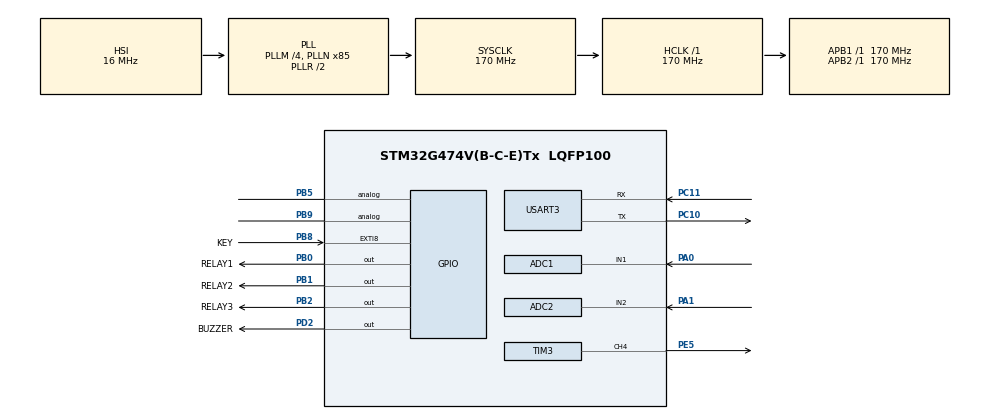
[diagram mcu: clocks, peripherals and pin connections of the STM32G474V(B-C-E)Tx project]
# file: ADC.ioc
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ADC1.Channel-0\#ChannelRegularConversion=ADC_CHANNEL_1
ADC1.DMAContinuousRequests=ENABLE
ADC1.ExternalTrigConv=ADC_EXTERNALTRIG_T3_CC4
ADC1.NbrOfConversion=1
ADC1.NbrOfConversionFlag=1
ADC1.OffsetNumber-0\#ChannelRegularConversion=ADC_OFFSET_NONE
ADC1.OversamplingMode=DISABLE
ADC1.Rank-0\#ChannelRegularConversion=1
ADC1.SamplingTime-0\#ChannelRegularConversion=ADC_SAMPLETIME_12CYCLES_5
ADC1.master=1
ADC2.Channel-0\#ChannelRegularConversion=ADC_CHANNEL_2
ADC2.DMAContinuousRequests=ENABLE
ADC2.ExternalTrigConv=ADC_EXTERNALTRIG_T3_CC4
ADC2.ExternalTrigConvEdge=ADC_EXTERNALTRIGCONVEDGE_FALLING
ADC2.NbrOfConversionFlag=1
ADC2.OffsetNumber-0\#ChannelRegularConversion=ADC_OFFSET_NONE
ADC2.Rank-0\#ChannelRegularConversion=1
ADC2.SamplingTime-0\#ChannelRegularConversion=ADC_SAMPLETIME_12CYCLES_5
Dma.ADC1.0.Direction=DMA_PERIPH_TO_MEMORY
Dma.ADC1.0.EventEnable=DISABLE
Dma.ADC1.0.Instance=DMA1_Channel1
Dma.ADC1.0.MemDataAlignment=DMA_MDATAALIGN_HALFWORD
Dma.ADC1.0.MemInc=DMA_MINC_ENABLE
Dma.ADC1.0.Mode=DMA_CIRCULAR
Dma.ADC1.0.PeriphDataAlignment=DMA_PDATAALIGN_HALFWORD
Dma.ADC1.0.PeriphInc=DMA_PINC_DISABLE
Dma.ADC1.0.Polarity=HAL_DMAMUX_REQ_GEN_RISING
Dma.ADC1.0.Priority=DMA_PRIORITY_LOW
Dma.ADC1.0.RequestNumber=1
Dma.ADC1.0.SignalID=NONE
Dma.ADC1.0.SyncEnable=DISABLE
Dma.ADC1.0.SyncPolarity=HAL_DMAMUX_SYNC_NO_EVENT
Dma.ADC1.0.SyncRequestNumber=1
Dma.ADC1.0.SyncSignalID=NONE
Dma.ADC2.1.Direction=DMA_PERIPH_TO_MEMORY
Dma.ADC2.1.EventEnable=DISABLE
Dma.ADC2.1.Instance=DMA1_Channel2
Dma.ADC2.1.MemDataAlignment=DMA_MDATAALIGN_HALFWORD
Dma.ADC2.1.MemInc=DMA_MINC_ENABLE
Dma.ADC2.1.Mode=DMA_CIRCULAR
Dma.ADC2.1.PeriphDataAlignment=DMA_PDATAALIGN_HALFWORD
Dma.ADC2.1.PeriphInc=DMA_PINC_DISABLE
Dma.ADC2.1.Polarity=HAL_DMAMUX_REQ_GEN_RISING
Dma.ADC2.1.Priority=DMA_PRIORITY_LOW
Dma.ADC2.1.RequestNumber=1
Dma.ADC2.1.SignalID=NONE
Dma.ADC2.1.SyncEnable=DISABLE
Dma.ADC2.1.SyncPolarity=HAL_DMAMUX_SYNC_NO_EVENT
Dma.ADC2.1.SyncRequestNumber=1
Dma.ADC2.1.SyncSignalID=NONE
Dma.Request0=ADC1
Dma.Request1=ADC2
Mcu.Family=STM32G4
Mcu.Name=STM32G474V(B-C-E)Tx
Mcu.Package=LQFP100
NVIC.ADC1_2_IRQn=true\:0\:0\:false\:false\:true\:true\:true\:true
NVIC.DMA1_Channel1_IRQn=true\:0\:0\:false\:false\:true\:true\:true\:true
NVIC.DMA1_Channel2_IRQn=true\:0\:0\:false\:false\:true\:true\:true\:true
NVIC.EXTI9_5_IRQn=true\:0\:0\:false\:false\:true\:true\:true\:true
NVIC.PriorityGroup=NVIC_PRIORITYGROUP_4
NVIC.TIM3_IRQn=true\:0\:0\:false\:false\:true\:true\:true\:true
NVIC.USART3_IRQn=true\:0\:0\:false\:false\:true\:true\:true\:true
PA0.Mode=IN1-Single-Ended
PA0.Signal=ADC1_IN1
PA1.Mode=IN2-Single-Ended
PA1.Signal=ADC2_IN2
PA13.Mode=Serial_Wire
PA13.Signal=SYS_JTMS-SWDIO
PA14.Mode=Serial_Wire
PA14.Signal=SYS_JTCK-SWCLK
PB0.GPIO_Label=RELAY1
PB0.GPIO_ModeDefaultOutputPP=GPIO_MODE_OUTPUT_OD
PB0.GPIO_PuPd=GPIO_NOPULL
PB0.GPIO_Speed=GPIO_SPEED_FREQ_HIGH
PB0.PinState=GPIO_PIN_SET
PB0.Signal=GPIO_Output
PB1.GPIO_Label=RELAY2
PB1.GPIO_ModeDefaultOutputPP=GPIO_MODE_OUTPUT_OD
PB1.GPIO_PuPd=GPIO_NOPULL
PB1.GPIO_Speed=GPIO_SPEED_FREQ_HIGH
PB1.PinState=GPIO_PIN_SET
PB1.Signal=GPIO_Output
PB2.GPIO_Label=RELAY3
PB2.GPIO_ModeDefaultOutputPP=GPIO_MODE_OUTPUT_OD
PB2.GPIO_PuPd=GPIO_NOPULL
PB2.GPIO_Speed=GPIO_SPEED_FREQ_HIGH
PB2.PinState=GPIO_PIN_SET
PB2.Signal=GPIO_Output
PB5.Signal=GPIO_Analog
PB8-BOOT0.GPIO_Label=KEY
PB8-BOOT0.GPIO_PuPd=GPIO_PULLDOWN
PB8-BOOT0.Signal=GPXTI8
PB9.Signal=GPIO_Analog
PC10.Mode=Asynchronous
PC10.Signal=USART3_TX
PC11.Mode=Asynchronous
PC11.Signal=USART3_RX
PD2.GPIO_Label=BUZZER
PD2.GPIO_Speed=GPIO_SPEED_FREQ_HIGH
PD2.Signal=GPIO_Output
PE5.Signal=S_TIM3_CH4
PF0-OSC_IN.Mode=HSE-External-Oscillator
PF0-OSC_IN.Signal=RCC_OSC_IN
PF1-OSC_OUT.Mode=HSE-External-Oscillator
PF1-OSC_OUT.Signal=RCC_OSC_OUT
ProjectManager.HeapSize=0x200
ProjectManager.StackSize=0x400
ProjectManager.TargetToolchain=MDK-ARM V5.27
RCC.ADC12Freq_Value=170000000
RCC.ADC345Freq_Value=170000000
RCC.AHBFreq_Value=170000000
RCC.APB1Freq_Value=170000000
RCC.APB1TimFreq_Value=170000000
RCC.APB2Freq_Value=170000000
RCC.APB2TimFreq_Value=170000000
RCC.CortexFreq_Value=170000000
RCC.EXTERNAL_CLOCK_VALUE=12288000
RCC.FLatency=FLASH_LATENCY_4
RCC.HCLKFreq_Value=170000000
RCC.HSE_VALUE=8000000
RCC.HSI48_VALUE=48000000
RCC.HSI_VALUE=16000000
RCC.LSE_VALUE=32768
RCC.PLLM=RCC_PLLM_DIV4
RCC.PLLN=85
RCC.PWR_Regulator_Voltage_Scale=PWR_REGULATOR_VOLTAGE_SCALE1_BOOST
RCC.SYSCLKFreq_VALUE=170000000
RCC.SYSCLKSource=RCC_SYSCLKSOURCE_PLLCLK
RCC.USBFreq_Value=170000000
RCC.VCOOutputFreq_Value=340000000
SH.S_TIM3_CH4.0=TIM3_CH4,PWM Generation4 CH4
TIM3.AutoReloadPreload=TIM_AUTORELOAD_PRELOAD_ENABLE
TIM3.Channel-PWM\ Generation4\ CH4=TIM_CHANNEL_4
TIM3.CounterMode=TIM_COUNTERMODE_CENTERALIGNED1
TIM3.PeriodNoDither=1
TIM3.Prescaler=82
TIM3.PulseNoDither_4=0
TIM3.TIM_MasterOutputTrigger=TIM_TRGO_OC4REF
USART3.VirtualMode-Asynchronous=VM_ASYNC
VP_SYS_VS_DBSignals.Mode=DisableDeadBatterySignals
VP_TIM3_VS_ClockSourceINT.Mode=Internal
board=custom

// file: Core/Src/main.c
/* USER CODE BEGIN Header */
/**
  ******************************************************************************
  * @file           : main.c
  * @brief          : Main program body
  ******************************************************************************
  * @attention
  *
  * Copyright (c) 2026 STMicroelectronics.
  * All rights reserved.
  *
  * This software is licensed under terms that can be found in the LICENSE file
  * in the root directory of this software component.
  * If no LICENSE file comes with this software, it is provided AS-IS.
  *
  ******************************************************************************
  */
/* USER CODE END Header */
#include "main.h"
#include "adc.h"
#include "dma.h"
#include "tim.h"
#include "usart.h"
#include "gpio.h"

/* USER CODE BEGIN Includes */
#include "AD9833.h"
#include "arm_math.h"
#include "arm_const_structs.h"
#include "stdio.h"
#include "goertzel_sync.h"
#include "math.h"
#include "analyzer_bridge.h"
#include "display.h"
#include "goertzel_sync.h"
/* USER CODE END Includes */

/* USER CODE BEGIN PD */

#define ADC_SIZE 4096
/* float ר�� */
#define SWAP_F(a, b)  do { float _t = (a); (a) = (b); (b) = _t; } while (0)
uint16_t adc_b[ADC_SIZE/2]={0},adc_b1[ADC_SIZE/2]={0};
__IO uint8_t AdcConvEnd = 0;
#define ANALYZER_SAMPLE_RATE_HZ  2048193.0f
#define BOARD_KEY_CONTROL_ENABLE 1U
#define BOARD_KEY_DEBOUNCE_MS    30U
#define BOARD_KEY_LONG_PRESS_MS  1000U

#define PI 3.14159265358979323846f
/* USER CODE END PD */

/* USER CODE BEGIN PV */
float32_t input[ADC_SIZE*2+4],output[ADC_SIZE/2],VO[ADC_SIZE],V0=0;
float32_t max;uint32_t index;
float F,V,FB,VB,VC,FC,TE,Vr=0;
uint32_t valid_len;
uint32_t discard_len;
uint16_t flag=0;

extern const short bw9_lut[];  /* 你的LUT，自己声明 */

static float g_f1, g_a1, g_phi1;
static float g_f2, g_a2, g_ph2;
static float g_f3, g_a3, g_ph3;
static int   g_n;  /* 分量数 1~3 */

#if defined(__ARMCC_VERSION)
__attribute__((used)) int __ARM_use_no_argv;
#endif

#if BOARD_KEY_CONTROL_ENABLE
static volatile uint32_t s_key_press_tick;
static volatile uint8_t s_key_press_active;
#endif
/* USER CODE END PV */

void SystemClock_Config(void);

/* USER CODE BEGIN 0 */
#if BOARD_KEY_CONTROL_ENABLE
void HAL_GPIO_EXTI_Callback(uint16_t pin)
{
    if ((pin == KEY_Pin) &&
        (s_key_press_active == 0U) &&
        (HAL_GPIO_ReadPin(KEY_GPIO_Port, KEY_Pin) == GPIO_PIN_SET))
    {
        s_key_press_tick = HAL_GetTick();
        s_key_press_active = 1U;
    }
}

static void BoardKey_Task(void)
{
    uint32_t held_ms;

    if ((s_key_press_active == 0U) ||
        (HAL_GPIO_ReadPin(KEY_GPIO_Port, KEY_Pin) == GPIO_PIN_SET))
    {
        return;
    }

    held_ms = HAL_GetTick() - s_key_press_tick;
    s_key_press_active = 0U;

    if (held_ms < BOARD_KEY_DEBOUNCE_MS)
    {
        return;
    }

    if (held_ms >= BOARD_KEY_LONG_PRESS_MS)
    {
        Display_RequestRefresh();
    }
    else
    {
        Display_TogglePeriods();
    }
}
#endif

static float bw9_phase(float f)
{
      return 0;
}

static void set_base(float f1, float a1, float ph_meas1)
{
    g_f1 = f1;  g_a1 = a1;  g_phi1 = ph_meas1;
    g_f2 = g_a2 = g_ph2 = 0;
    g_f3 = g_a3 = g_ph3 = 0;
    g_n = 1;
}

static float add_harmonic(float fk, float ak, float ph_meas)
{
    float Phik = ph_meas  - bw9_phase(fk);
    float Phi1 = g_phi1   - bw9_phase(g_f1);
    int   mk   = (int)(fk / g_f1 + 0.5f);
    float phi  = Phik - mk * Phi1 - (mk - 1) * (PI / 2);
    phi = atan2f(sinf(phi), cosf(phi));  /* norm */

    g_n++;
    if (g_n == 2) { g_f2 = fk; g_a2 = ak; g_ph2 = phi; }
    if (g_n == 3) { g_f3 = fk; g_a3 = ak; g_ph3 = phi; }
    return phi;
}

static float get_upp(void)
{
    float dt = 1.0f / ANALYZER_SAMPLE_RATE_HZ;
    int   n  = (int)(3.0f / g_f1 / dt);
    if (n > 2048) n = 2048;
    float mx = -1e9, mn = 1e9;
    for (int i = 0; i < n; i++) {
        float t  = i * dt;
        float v  = g_a1 * sinf(2*PI*g_f1*t);
        if (g_n >= 2) v += g_a2 * sinf(2*PI*g_f2*t + g_ph2);
        if (g_n >= 3) v += g_a3 * sinf(2*PI*g_f3*t + g_ph3);
        if (v > mx) mx = v;
        if (v < mn) mn = v;
    }
    return mx - mn;
}

float getup(float f1, float v1,float f2,float v2,float p2,float f3,float v3,float p3) {
    float mx=0,mi=0,a=0;
		//if(flag==2) v3=0;
    for (int i = 0; i < 4096; i++) {
       if(flag==2)
				 a=v1*arm_sin_f32(2*PI*i/1000.0)+v2*arm_sin_f32(2*PI*i/1000.0+p2);
			 else
				 a=v1*arm_sin_f32(2*PI*f1*i/4096.0)+v2*arm_sin_f32(2*PI*f2*i/4096.0+p2)+v3*arm_sin_f32(2*PI*f3*i/4096.0+p3);

			if(a > mx)
				mx=a;
			if(a<mi)
				mi=a;

    }
    return mx - mi;
}

void sof()
{
	if(F>FB)
	{
		SWAP_F(F,FB);
		SWAP_F(V,VB);
	}
	if(FB>FC)
	{
		SWAP_F(FB,FC);
		SWAP_F(VB,VC);
	}
	if(F>FB)
	{
		SWAP_F(F,FB);
		SWAP_F(V,VB);
	}
}

void fft()
{

	arm_cfft_f32(&arm_cfft_sR_f32_len4096,input,0,1);
	 arm_cmplx_mag_f32(input, output, ADC_SIZE / 2 );
	for(int i=0;i<1024;i++)
	{
			if(i<300)
				output[i]/=5.92;
			else if(i<420)
				output[i]/=6.1;
			else if(i<520)
				output[i]/=6.19;
			else if(i<560)
				output[i]/=6.25;
			else if(i<600)
				output[i]/=6.32;
			else if(i<680)
				output[i]/=6.43;
			else if(i<720)
				output[i]/=6.62;
			else if(i<800)
				output[i]/=6.71;
			else if(i<840)
				output[i]/=6.83;
			else if(i<880)
				output[i]/=6.92;
			else
				output[i]/=7.16;
	}
	//arm_cmplx_mag_squared_f32(input,output,ADC_SIZE/2);
	index=0;
	max=output[1];
	arm_max_f32(&output[1],1023,&max,&index);
	float sum=0,summ=0;

	F=(index+1)*2048000.0/4096.0;
		//V=2.0*max/4096.0;
	for(int i=-4;i<5;i++)
		{
			sum+=output[index+i+1]*output[index+i+1];output[index+i+1]=0;
		}
	V=2.0*sqrtf(sum)/4096.0;
	summ+=sum;

	arm_max_f32(&output[1],1023,&max,&index);
	sum=0;
	FB=(index+1)*2048000.0/4096.0;
	for(int i=-4;i<5;i++)
		{
			sum+=output[index+i+1]*output[index+i+1];output[index+i+1]=0;
		}
	//FB=(index+1)*2048000.0/4096.0;
	//VB=2.0*max/2048.0;
	VB=2.0*sqrtf(sum)/4096.0;
	summ+=sum;

	arm_max_f32(&output[1],1023,&max,&index);
	sum=0;
	FC=(index+1)*2048000.0/4096.0;
	for(int i=-4;i<5;i++)
		{
			sum+=output[index+i+1]*output[index+i+1];output[index+i+1]=0;
		}
	//FC=(index+1)*2048000.0/4096.0;
	//VC=2.0*max/2048.0;
	VC=2.0*sqrtf(sum)/4096.0;

	if(VC<0.00477 || (FC<FB && FC<F))
	{
		flag=2;FC=1024000;
	}
	else
	{
		float min_ab = (F < FB) ? F : FB;
		if((uint32_t)FC % (uint32_t)min_ab == 0)
		{
			flag=3;summ+=sum;
		}
		//if((uint32_t)FB % (uint32_t)F!=0 || (uint32_t)FC % (uint32_t)F!=0)
		else
		{
			flag=2;
			FC=1024000;
		}
	}
	sof();
	Vr=	sqrtf(2.0*summ)/4096.0;
	V0=output[0]/4096.0;
}

void HAL_ADC_ConvCpltCallback(ADC_HandleTypeDef* hadc)
{
	if(hadc == &hadc1)
	{
		AdcConvEnd+=1;
HAL_ADC_Stop_DMA(&hadc1);
	}
	if(hadc == &hadc2)
	{
		AdcConvEnd+=1;
HAL_ADC_Stop_DMA(&hadc2);
	}
}

/* ³�����ֵ: �ðٷ�λ�������� */
float Vpp_Robust(const float *data, uint32_t len)
{
    static float sorted[4096];
    uint32_t i, j;
    float key;

    /* 1. ���� */
    for (i = 0; i < len; i++) sorted[i] = data[i];

    /* 2. ��������(2048���Cortex-M4����)
       Ҳ���� arm_sort_f32 (CMSIS-DSP 1.10+) */
    for (i = 1; i < len; i++) {
        key = sorted[i];
        j = i;
        while (j > 0 && sorted[j-1] > key) {
            sorted[j] = sorted[j-1];
            j--;
        }
        sorted[j] = key;
    }

    /* 3. ȡ 1% �� 99% ��λ��, ���˼������� */
		float idx_low=0 ;           /* 1% λ�� */
    float idx_high=0; /* 99% λ�� */
		for (i = 240; i < 260; i++) {
			idx_low+=sorted[i];
			idx_high+=sorted[4095-i];
		}
		idx_low/=20.0;
		idx_high/=20.0;
    return idx_high- idx_low;
}

float Vpp_R()
{
			float fm=F;
			uint32_t cycles = (uint32_t)floor(4096.0 * fm / 2048000.0);
			double exact_len = cycles *  2048000.0 / fm;
			valid_len = (uint32_t)round(exact_len);
			discard_len = 4096 - valid_len;
			for(int i=0;i<discard_len;i++)
				VO[4095-i]=0;
			for(int i=0;i<4096;i++)
				VO[i]=(VO[i]-V0);
			for (int i=0; i < 4096; i++)
			{
				input[i*2]=VO[i];input[i*2+1]=0;
			}
			fft();
			//arm_mean_f32(VO,valid_len,&V0);
			float Vrms=0;
			arm_rms_f32(VO, valid_len, &Vrms);
			return Vrms;
}
/* USER CODE END 0 */

int main(void)
{

  /* MCU Configuration--------------------------------------------------------*/

  /* Reset of all peripherals, Initializes the Flash interface and the Systick. */
  HAL_Init();

  /* Configure the system clock */
  SystemClock_Config();

  /* Initialize all configured peripherals */
  MX_GPIO_Init();
  MX_DMA_Init();
  MX_USART3_UART_Init();
  MX_TIM3_Init();
  MX_ADC1_Init();
  MX_ADC2_Init();
  /* USER CODE BEGIN 2 */
HAL_ADCEx_Calibration_Start(&hadc1, ADC_SINGLE_ENDED);
HAL_ADCEx_Calibration_Start(&hadc2, ADC_SINGLE_ENDED);
HAL_ADC_Start_DMA(&hadc1,(uint32_t*)adc_b,2048);
HAL_ADC_Start_DMA(&hadc2,(uint32_t*)adc_b1,2048);
__DSB();
//HAL_TIM_Base_Start(&htim3);
HAL_TIM_PWM_Start(&htim3, TIM_CHANNEL_4);
//HAL_TIM_Base_Start(&htim3);
AnalyzerBridge_Init();
Display_Init(&huart3);
  /* USER CODE END 2 */

  /* Infinite loop */
  while (1)
  {

    /* USER CODE BEGIN 3 */
		if(AdcConvEnd == 2)
		{
			HAL_TIM_PWM_Stop(&htim3, TIM_CHANNEL_4);
			//HAL_ADC_Stop_DMA(&hadc1);
			//HAL_ADC_Stop_DMA(&hadc2);
			for (int i=0; i < 2048; i++)
			{
				VO[2 * i]     = adc_b[i]*3.3/4096.0;   // 奇数位置: ADC1 (先采样)
				VO[2 * i + 1] = adc_b1[i]*3.3/4096.0;  // 偶数位置: ADC2 (后采样)
			}
			for(int i=0;i<4096;i++)
			{
					input[i*2]=VO[i];input[i*2+1]=0;
			}
			float spectrum_frequencies_hz[ANALYZER_MAX_COMPONENTS];
			float spectrum_amplitudes_v[ANALYZER_MAX_COMPONENTS];
			uint8_t spectrum_flag;

			fft();

			spectrum_frequencies_hz[0] = F;
			spectrum_frequencies_hz[1] = FB;
			spectrum_frequencies_hz[2] = FC;
			spectrum_amplitudes_v[0] = V;
			spectrum_amplitudes_v[1] = VB;
			spectrum_amplitudes_v[2] = VC;
			spectrum_flag = (uint8_t)flag;
			//float vmax,vmin;
			//uint32_t maxid,minid;
			//arm_max_f32(VO, 2048, &vmax, &maxid);   /* �����ֵ */
			//arm_min_f32(VO, 2048, &vmin, &minid);   /* ����Сֵ */

			float vpp =Vpp_Robust(VO,4096)  ;            /* ���ֵ */

			GoertzelResult r=goertzel_sync(VO,4096,2048193,F),rB=goertzel_sync(VO,4096,2048193,FB),rC=goertzel_sync(VO,4096,2048193,FC);

			set_base(F, V, r.phase);
			float phi2 = add_harmonic(FB, VB, rB.phase);
			float phi3;
			if(flag==3)
			{phi3 = add_harmonic(FC, VC, rC.phase);}

			AnalyzerBridge_PrepareReal(
        VO,
        ADC_SIZE,
        ANALYZER_SAMPLE_RATE_HZ,
        spectrum_flag,
        spectrum_frequencies_hz,
        spectrum_amplitudes_v
);

			float Vrms=Vpp_R();
			vpp=getup(F,V,FB,VB,phi2,FC,VC,phi3);
			AnalyzerBridge_PublishPreparedReal(vpp, Vr);

			AdcConvEnd=0;
			HAL_ADC_Start_DMA(&hadc1,(uint32_t*)adc_b,2048);
			HAL_ADC_Start_DMA(&hadc2,(uint32_t*)adc_b1,2048);
			__DSB();
			HAL_TIM_PWM_Start(&htim3, TIM_CHANNEL_4);
			//AdcConvEnd=0;
		}
		#if BOARD_KEY_CONTROL_ENABLE
		BoardKey_Task();
		#endif
		Display_Task();
  }
  /* USER CODE END 3 */
}

void SystemClock_Config(void)
{
  RCC_OscInitTypeDef RCC_OscInitStruct = {0};
  RCC_ClkInitTypeDef RCC_ClkInitStruct = {0};

  /** Configure the main internal regulator output voltage
  */
  HAL_PWREx_ControlVoltageScaling(PWR_REGULATOR_VOLTAGE_SCALE1_BOOST);

  /** Initializes the RCC Oscillators according to the specified parameters
  * in the RCC_OscInitTypeDef structure.
  */
  RCC_OscInitStruct.OscillatorType = RCC_OSCILLATORTYPE_HSI;
  RCC_OscInitStruct.HSIState = RCC_HSI_ON;
  RCC_OscInitStruct.HSICalibrationValue = RCC_HSICALIBRATION_DEFAULT;
  RCC_OscInitStruct.PLL.PLLState = RCC_PLL_ON;
  RCC_OscInitStruct.PLL.PLLSource = RCC_PLLSOURCE_HSI;
  RCC_OscInitStruct.PLL.PLLM = RCC_PLLM_DIV4;
  RCC_OscInitStruct.PLL.PLLN = 85;
  RCC_OscInitStruct.PLL.PLLP = RCC_PLLP_DIV2;
  RCC_OscInitStruct.PLL.PLLQ = RCC_PLLQ_DIV2;
  RCC_OscInitStruct.PLL.PLLR = RCC_PLLR_DIV2;
  if (HAL_RCC_OscConfig(&RCC_OscInitStruct) != HAL_OK)
  {
    Error_Handler();
  }

  /** Initializes the CPU, AHB and APB buses clocks
  */
  RCC_ClkInitStruct.ClockType = RCC_CLOCKTYPE_HCLK|RCC_CLOCKTYPE_SYSCLK
                              |RCC_CLOCKTYPE_PCLK1|RCC_CLOCKTYPE_PCLK2;
  RCC_ClkInitStruct.SYSCLKSource = RCC_SYSCLKSOURCE_PLLCLK;
  RCC_ClkInitStruct.AHBCLKDivider = RCC_SYSCLK_DIV1;
  RCC_ClkInitStruct.APB1CLKDivider = RCC_HCLK_DIV1;
  RCC_ClkInitStruct.APB2CLKDivider = RCC_HCLK_DIV1;

  if (HAL_RCC_ClockConfig(&RCC_ClkInitStruct, FLASH_LATENCY_4) != HAL_OK)
  {
    Error_Handler();
  }
}

void Error_Handler(void)
{
  __disable_irq();
  while (1)
  {
  }
}
